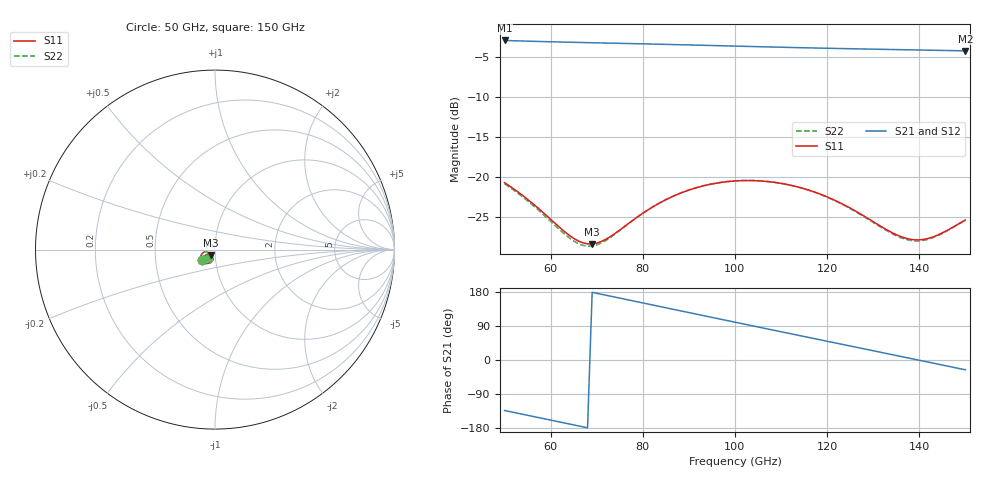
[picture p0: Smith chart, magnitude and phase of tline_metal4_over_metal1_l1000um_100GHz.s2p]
#  GHZ S DB R 50
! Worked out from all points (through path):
!   101 points, 50 GHz to 150 GHz, reference 50 ohm
!   highest |S21| = -2.89 dB at 50 GHz (marker M1); lowest = -4.2 dB at 150 GHz (marker M2)
!   group delay of S21, straight-line fit = 7.02 ps
!   lowest |S11| = -28.3 dB at 69 GHz (marker M3), VSWR 1.08, Z = 47.8 - j3.05 ohm
!   |S11| at or under -10 dB: start of sweep to end of sweep
!   |S22| runs from -28.6 to -20.4 dB; largest |S21 - S12| = 7.8e-14
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50  -20.67 -141.6  -2.89 -133.3  -2.89 -133.3  -20.80 -141.8
55  -22.75 -148.1  -2.97 -146.0  -2.97 -146.0  -22.94 -148.3
59  -24.72 -149.4  -3.04 -156.1  -3.04 -156.1  -24.97 -149.3
64  -27.23 -142.2  -3.11 -168.8  -3.11 -168.8  -27.55 -141.4
67  -28.18 -132.1  -3.15 -176.4  -3.15 -176.4  -28.50 -130.5
69  -28.32 -124.0  -3.17 178.5  -3.17 178.5  -28.58 -122.1
72  -27.73 -113.3  -3.21 170.9  -3.21 170.9  -27.87 -111.1
76  -26.15 -105.4  -3.26 160.7  -3.26 160.7  -26.18 -103.4
84  -23.09 -106.7  -3.36 140.4  -3.36 140.4  -23.07 -105.4
92  -21.24 -117.6  -3.47 120.0  -3.47 120.0  -21.21 -116.7
96  -20.72 -124.4  -3.53 109.9  -3.53 109.9  -20.70 -123.6
100  -20.45 -131.4  -3.59 99.8  -3.59 99.8  -20.43 -130.7
104  -20.40 -138.5  -3.65 89.7  -3.65 89.7  -20.39 -137.9
108  -20.58 -145.4  -3.70 79.6  -3.70 79.6  -20.58 -144.9
112  -20.97 -151.9  -3.76 69.6  -3.76 69.6  -20.98 -151.5
117  -21.78 -159.1  -3.82 57.0  -3.82 57.0  -21.80 -158.7
126  -24.16 -166.8  -3.93 34.4  -3.93 34.4  -24.22 -166.4
134  -26.88 -160.8  -4.02 14.4  -4.02 14.4  -27.00 -160.1
138  -27.73 -150.9  -4.06 4.3  -4.06 4.3  -27.87 -150.0
141  -27.75 -142.1  -4.09 -3.2  -4.09 -3.2  -27.86 -140.8
145  -26.94 -132.3  -4.13 -13.3  -4.13 -13.3  -27.00 -130.8
150  -25.32 -126.4  -4.19 -25.9  -4.19 -25.9  -25.33 -125.0
